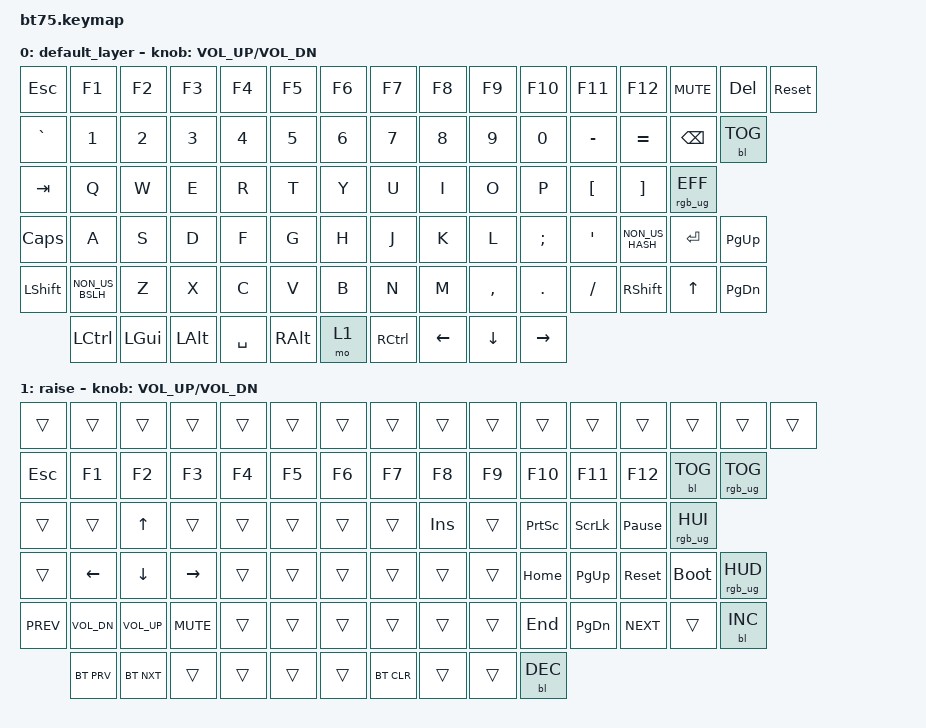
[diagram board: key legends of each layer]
#include <behaviors.dtsi>
#include <dt-bindings/zmk/backlight.h>
#include <dt-bindings/zmk/bt.h>
#include <dt-bindings/zmk/keys.h>
#include <dt-bindings/zmk/rgb.h>

/ {
    keymap {
        compatible = "zmk,keymap";

        default_layer {
            // ------------------------------------------------------------------------------------------------------------
            // | ESC | F1  | F2  | F3  | F4  | F5  | F6  | F7  | F9  | F9  | F10 | F11 | F12 | PSCRN | INS | DEL	|
            // |  `  |  1  |  2  |  3  |  4  |  5  |  6  |  7  |  8  |  9  |  0  |  -  |  =  |   BKSP   | HOME	|
            // | TAB  |  Q  |  W  |  E  |  R  |  T  |  Y  |  U  |  I  |  O  |  P  |  [  |  ]  |        | PG UP |
            // | CAPS  |  A  |  S  |  D  |  F  |  G  |  H  |  J  |  K  |  L  |  ;  |  '  |   # | ENTER     | PG DN |
            // |  SHIFT | \   |  Z  |  X  |  C  |  V  |  B  |  N  |  M  |  ,  |  .  | /   |    SHIFT |  UP  |  END  |
            // |  CTL  |  WIN  |  ALT  |            SPACE               | ALT | 1  | CTRL |  LEFT | DOWN | RIGHT |
            // ------------------------------------------------------------------------------------------------------------

            bindings = <
&kp ESC    &kp F1           &kp F2    &kp F3    &kp F4     &kp F5    &kp F6  &kp F7     &kp F8    &kp F9     &kp F10    &kp F11    &kp F12          &kp K_MUTE       &kp DELETE  &sys_reset
&kp GRAVE  &kp N1           &kp N2    &kp N3    &kp N4     &kp N5    &kp N6  &kp N7     &kp N8    &kp N9     &kp N0     &kp MINUS  &kp EQUAL        &kp BKSP         &bl BL_TOG
&kp TAB    &kp Q            &kp W     &kp E     &kp R      &kp T     &kp Y   &kp U      &kp I     &kp O      &kp P      &kp LBKT   &kp RBKT         &rgb_ug RGB_EFF
&kp CLCK   &kp A            &kp S     &kp D     &kp F      &kp G     &kp H   &kp J      &kp K     &kp L      &kp SEMI   &kp SQT    &kp NON_US_HASH  &kp RET          &kp PG_UP
&kp LSHFT  &kp NON_US_BSLH  &kp Z     &kp X     &kp C      &kp V     &kp B   &kp N      &kp M     &kp COMMA  &kp DOT    &kp FSLH   &kp RSHFT        &kp UP           &kp PG_DN
           &kp LCTRL        &kp LGUI  &kp LALT  &kp SPACE  &kp RALT  &mo 1   &kp RCTRL  &kp LEFT  &kp DOWN   &kp RIGHT
            >;

            sensor-bindings = <&inc_dec_kp C_VOL_UP C_VOL_DN>;
        };

        raise {
            bindings = <
&trans      &trans        &trans        &trans      &trans  &trans  &trans  &trans      &trans   &trans  &trans      &trans     &trans           &trans           &trans           &trans
&kp ESC     &kp F1        &kp F2        &kp F3      &kp F4  &kp F5  &kp F6  &kp F7      &kp F8   &kp F9  &kp F10     &kp F11    &kp F12          &bl BL_TOG       &rgb_ug RGB_TOG
&trans      &trans        &kp UP        &trans      &trans  &trans  &trans  &trans      &kp INS  &trans  &kp PSCRN   &kp SLCK   &kp PAUSE_BREAK  &rgb_ug RGB_HUI
&trans      &kp LEFT      &kp DOWN      &kp RIGHT   &trans  &trans  &trans  &trans      &trans   &trans  &kp HOME    &kp PG_UP  &sys_reset       &bootloader      &rgb_ug RGB_HUD
&kp C_PREV  &kp C_VOL_DN  &kp C_VOL_UP  &kp C_MUTE  &trans  &trans  &trans  &trans      &trans   &trans  &kp END     &kp PG_DN  &kp C_NEXT       &trans           &bl BL_INC
            &bt BT_PRV    &bt BT_NXT    &trans      &trans  &trans  &trans  &bt BT_CLR  &trans   &trans  &bl BL_DEC
            >;

            sensor-bindings = <&inc_dec_kp C_VOL_UP C_VOL_DN>;
        };
    };
};
